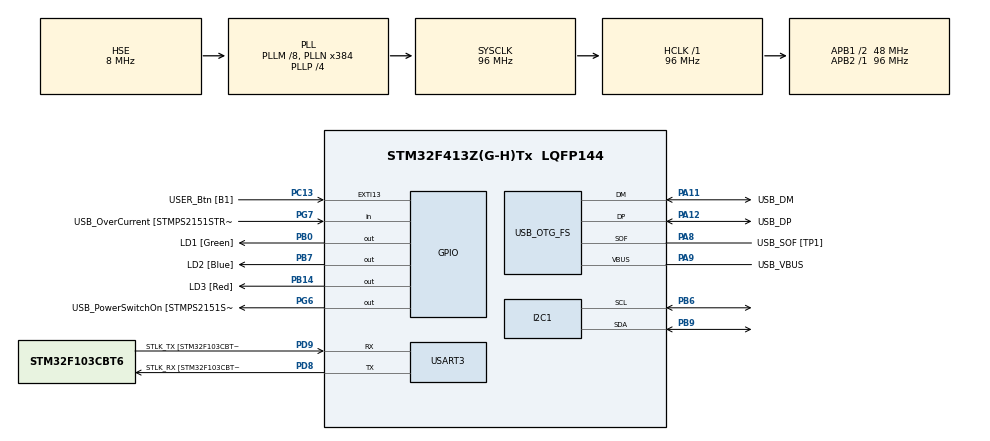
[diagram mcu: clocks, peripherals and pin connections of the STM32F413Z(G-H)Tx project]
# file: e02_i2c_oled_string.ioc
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Mcu.Family=STM32F4
Mcu.Name=STM32F413Z(G-H)Tx
Mcu.Package=LQFP144
NVIC.PriorityGroup=NVIC_PRIORITYGROUP_4
PA10.GPIO_Label=USB_ID
PA10.Signal=USB_OTG_FS_ID
PA11.GPIO_Label=USB_DM
PA11.Mode=Device_Only
PA11.Signal=USB_OTG_FS_DM
PA12.GPIO_Label=USB_DP
PA12.Mode=Device_Only
PA12.Signal=USB_OTG_FS_DP
PA13.GPIO_Label=TMS
PA13.Mode=Serial_Wire
PA13.Signal=SYS_JTMS-SWDIO
PA14.GPIO_Label=TCK
PA14.Mode=Serial_Wire
PA14.Signal=SYS_JTCK-SWCLK
PA8.GPIO_Label=USB_SOF [TP1]
PA8.Mode=Activate_SOF_FS
PA8.Signal=USB_OTG_FS_SOF
PA9.GPIO_Label=USB_VBUS
PA9.Mode=Activate_VBUS
PA9.Signal=USB_OTG_FS_VBUS
PB0.GPIO_Label=LD1 [Green]
PB0.Signal=GPIO_Output
PB14.GPIO_Label=LD3 [Red]
PB14.Signal=GPIO_Output
PB3.GPIO_Label=SWO
PB3.Signal=SYS_JTDO-SWO
PB6.Mode=I2C
PB6.Signal=I2C1_SCL
PB7.GPIO_Label=LD2 [Blue]
PB7.Signal=GPIO_Output
PB9.Mode=I2C
PB9.Signal=I2C1_SDA
PC13.GPIO_Label=USER_Btn [B1]
PC13.Signal=GPXTI13
PC14-OSC32_IN.Mode=LSE-External-Oscillator
PC14-OSC32_IN.Signal=RCC_OSC32_IN
PC15-OSC32_OUT.Mode=LSE-External-Oscillator
PC15-OSC32_OUT.Signal=RCC_OSC32_OUT
PD8.GPIO_Label=STLK_RX [STM32F103CBT6_PA3]
PD8.Mode=Asynchronous
PD8.Signal=USART3_TX
PD9.GPIO_Label=STLK_TX [STM32F103CBT6_PA2]
PD9.Mode=Asynchronous
PD9.Signal=USART3_RX
PG6.GPIO_Label=USB_PowerSwitchOn [STMPS2151STR_EN]
PG6.Signal=GPIO_Output
PG7.GPIO_Label=USB_OverCurrent [STMPS2151STR_FAULT]
PG7.Signal=GPIO_Input
PH0\ -\ OSC_IN.GPIO_Label=MCO
PH0\ -\ OSC_IN.Mode=HSE-External-Clock-Source
PH0\ -\ OSC_IN.Signal=RCC_OSC_IN
PH1\ -\ OSC_OUT.Mode=HSE-External-Clock-Source
PH1\ -\ OSC_OUT.Signal=RCC_OSC_OUT
ProjectManager.HeapSize=0x200
ProjectManager.StackSize=0x400
ProjectManager.TargetToolchain=STM32CubeIDE
RCC.48MHZClocksFreq_Value=24000000
RCC.AHBFreq_Value=96000000
RCC.APB1CLKDivider=RCC_HCLK_DIV2
RCC.APB1Freq_Value=48000000
RCC.APB1TimFreq_Value=96000000
RCC.APB2Freq_Value=96000000
RCC.APB2TimFreq_Value=96000000
RCC.CortexFreq_Value=96000000
RCC.HCLKFreq_Value=96000000
RCC.HSE_VALUE=8000000
RCC.HSI_VALUE=16000000
RCC.PLLM=8
RCC.PLLMUL=RCC_PLL_MUL9
RCC.PLLN=384
RCC.PLLP=RCC_PLLP_DIV4
RCC.PLLQ=8
RCC.PRESCALERUSB=RCC_USBCLKSOURCE_PLL_DIV1_5
RCC.SYSCLKFreq_VALUE=96000000
RCC.SYSCLKSource=RCC_SYSCLKSOURCE_PLLCLK
RCC.SYSCLKSourceVirtual=RCC_SYSCLKSOURCE_PLLCLK
RCC.USBFreq_Value=48000000
RCC.VCOOutputFreq_Value=384000000
USART3.VirtualMode=VM_ASYNC
USB_OTG_FS.VirtualMode=Device_Only
board=NUCLEO-F413ZH

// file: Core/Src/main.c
/* USER CODE BEGIN Header */
/**
 ******************************************************************************
 * @file           : main.c
 * @brief          : Main program body (OLED Countdown & LED Sequence)
 ******************************************************************************
 */
/* USER CODE END Header */
#include "main.h"

/* USER CODE BEGIN Includes */
#include <stdio.h>
#include <string.h>
/* USER CODE END Includes */

/* USER CODE BEGIN PD */
#define OLED_ADDR 0x78 // OLED I2C address (0x3C << 1)
/* USER CODE END PD */

I2C_HandleTypeDef hi2c1;
UART_HandleTypeDef huart3;
PCD_HandleTypeDef hpcd_USB_OTG_FS;

/* USER CODE BEGIN PV */

// --- 1. 大數字圖案 (寬24 x 高32) ---
// 格式: Vertical Addressing (4 Pages tall)

// 數字 '1' (24x32)
const uint8_t BMP_1[] = {
    0x00,0x00,0x00,0x00,0x00,0x00,0x00,0x00,0xFE,0xFE,0xFE,0x00,0x00,0x00,0x00,0x00,0x00,0x00,0x00,0x00,0x00,0x00,0x00,0x00,
    0x00,0x00,0x00,0x00,0x00,0x00,0x00,0x00,0xFF,0xFF,0xFF,0x00,0x00,0x00,0x00,0x00,0x00,0x00,0x00,0x00,0x00,0x00,0x00,0x00,
    0x00,0x00,0x00,0x00,0x00,0x00,0x00,0x00,0xFF,0xFF,0xFF,0x00,0x00,0x00,0x00,0x00,0x00,0x00,0x00,0x00,0x00,0x00,0x00,0x00,
    0x00,0x00,0x00,0x00,0x00,0x00,0x00,0x00,0xFF,0xFF,0xFF,0x00,0x00,0x00,0x00,0x00,0x00,0x00,0x00,0x00,0x00,0x00,0x00,0x00
};

// 數字 '2' (24x32)
const uint8_t BMP_2[] = {
    0x00,0x00,0x18,0x3C,0x3C,0x3C,0x3C,0x3C,0x3C,0x3C,0x3C,0x3C,0x3C,0x1C,0x00,0x00,0x00,0x00,0x00,0x00,0x00,0x00,0x00,0x00,
    0x00,0x00,0x00,0x00,0x00,0x00,0x00,0x00,0x00,0x00,0x00,0x80,0xC0,0xF8,0xFE,0x3F,0x0F,0x03,0x00,0x00,0x00,0x00,0x00,0x00,
    0x00,0x00,0x00,0x00,0x00,0x00,0xE0,0xF8,0xFE,0xFF,0x3F,0x07,0x01,0x00,0x00,0x00,0x00,0x00,0x00,0x00,0x00,0x00,0x00,0x00,
    0x00,0x00,0x3C,0x3C,0x3C,0x3C,0x3C,0x3C,0x3C,0x3C,0x3C,0x3C,0x3C,0x3C,0x3C,0x3C,0x3C,0x00,0x00,0x00,0x00,0x00,0x00,0x00
};

// 數字 '3' (24x32)
const uint8_t BMP_3[] = {
    0x00,0x00,0x18,0x3C,0x3C,0x3C,0x3C,0x3C,0x3C,0x3C,0x3C,0x3C,0x3C,0x1C,0x00,0x00,0x00,0x00,0x00,0x00,0x00,0x00,0x00,0x00,
    0x00,0x00,0x00,0x00,0x00,0x18,0x18,0x18,0x18,0x18,0x18,0x98,0xD8,0xF8,0x70,0x00,0x00,0x00,0x00,0x00,0x00,0x00,0x00,0x00,
    0x00,0x00,0x00,0x00,0x00,0x00,0x00,0x00,0x00,0x00,0x00,0x81,0xC3,0xE7,0x7E,0x3C,0x00,0x00,0x00,0x00,0x00,0x00,0x00,0x00,
    0x00,0x00,0x1C,0x3E,0x3E,0x3E,0x3E,0x3E,0x3E,0x3E,0x3E,0x3E,0x3E,0x1C,0x00,0x00,0x00,0x00,0x00,0x00,0x00,0x00,0x00,0x00
};

// --- 2. 8x16 ASCII 字庫 (只包含 Space 到 ~ ) ---
// 為了程式碼長度，這裡使用精簡版字庫邏輯 (F8x16 陣列定義在 main 函數前)
// 但為了您能直接複製，我這裡放一個標準 ASCII 表 (ASCII 32 - 126)
const uint8_t F8x16[][16] = {
 {0x00,0x00,0x00,0x00,0x00,0x00,0x00,0x00,0x00,0x00,0x00,0x00,0x00,0x00,0x00,0x00},// Space
 {0x00,0x00,0x00,0xF8,0x00,0x00,0x00,0x00,0x00,0x00,0x00,0x33,0x30,0x00,0x00,0x00},// !
 {0x00,0x10,0x0C,0x06,0x10,0x0C,0x06,0x00,0x00,0x00,0x00,0x00,0x00,0x00,0x00,0x00},// "
 {0x40,0xC0,0x78,0x40,0xC0,0x78,0x40,0x00,0x04,0x3F,0x04,0x04,0x3F,0x04,0x04,0x00},// #
 {0x00,0x70,0x88,0xFC,0x08,0x30,0x00,0x00,0x00,0x18,0x20,0xFF,0x21,0x1E,0x00,0x00},// $
 {0xF0,0x08,0xF0,0x00,0xE0,0x18,0x00,0x00,0x00,0x21,0x1C,0x03,0x1E,0x21,0x1E,0x00},// %
 {0x00,0xF0,0x08,0x88,0x70,0x00,0x00,0x00,0x1E,0x21,0x23,0x24,0x19,0x27,0x21,0x10},// &
 {0x10,0x16,0x0E,0x00,0x00,0x00,0x00,0x00,0x00,0x00,0x00,0x00,0x00,0x00,0x00,0x00},// '
 {0x00,0x00,0x00,0xE0,0x18,0x04,0x02,0x00,0x00,0x00,0x00,0x07,0x18,0x20,0x40,0x00},// (
 {0x00,0x02,0x04,0x18,0xE0,0x00,0x00,0x00,0x00,0x40,0x20,0x18,0x07,0x00,0x00,0x00},// )
 {0x40,0x40,0x80,0xF0,0x80,0x40,0x40,0x00,0x02,0x02,0x01,0x0F,0x01,0x02,0x02,0x00},// *
 {0x00,0x00,0x00,0xF0,0x00,0x00,0x00,0x00,0x01,0x01,0x01,0x1F,0x01,0x01,0x01,0x00},// +
 {0x00,0x00,0x00,0x00,0x00,0x00,0x00,0x00,0x80,0xB0,0x70,0x00,0x00,0x00,0x00,0x00},// ,
 {0x00,0x00,0x00,0x00,0x00,0x00,0x00,0x00,0x00,0x01,0x01,0x01,0x01,0x01,0x01,0x01},// -
 {0x00,0x00,0x00,0x00,0x00,0x00,0x00,0x00,0x00,0x30,0x30,0x00,0x00,0x00,0x00,0x00},// .
 {0x00,0x00,0x00,0x00,0x80,0x60,0x18,0x04,0x00,0x60,0x18,0x06,0x01,0x00,0x00,0x00},// /
 {0x00,0xE0,0x10,0x08,0x08,0x10,0xE0,0x00,0x00,0x0F,0x10,0x20,0x20,0x10,0x0F,0x00},// 0
 {0x00,0x10,0x10,0xF8,0x00,0x00,0x00,0x00,0x00,0x20,0x20,0x3F,0x20,0x20,0x00,0x00},// 1
 {0x00,0x70,0x08,0x08,0x08,0x88,0x70,0x00,0x00,0x30,0x28,0x24,0x22,0x21,0x30,0x00},// 2
 {0x00,0x30,0x08,0x88,0x88,0x48,0x30,0x00,0x00,0x18,0x20,0x20,0x20,0x11,0x0E,0x00},// 3
 {0x00,0x00,0xC0,0x20,0x10,0xF8,0x00,0x00,0x00,0x07,0x04,0x24,0x24,0x3F,0x24,0x00},// 4
 {0x00,0xF8,0x08,0x88,0x88,0x08,0x08,0x00,0x00,0x19,0x21,0x20,0x20,0x11,0x0E,0x00},// 5
 {0x00,0xE0,0x10,0x88,0x88,0x18,0x00,0x00,0x00,0x0F,0x11,0x20,0x20,0x11,0x0E,0x00},// 6
 {0x00,0x38,0x08,0x08,0xC8,0x38,0x08,0x00,0x00,0x00,0x00,0x3F,0x00,0x00,0x00,0x00},// 7
 {0x00,0x70,0x88,0x08,0x08,0x88,0x70,0x00,0x00,0x1C,0x22,0x21,0x21,0x22,0x1C,0x00},// 8
 {0x00,0xE0,0x10,0x08,0x08,0x10,0xE0,0x00,0x00,0x00,0x31,0x22,0x22,0x11,0x0F,0x00},// 9
 {0x00,0x00,0x00,0xC0,0xC0,0x00,0x00,0x00,0x00,0x00,0x00,0x30,0x30,0x00,0x00,0x00},// :
 {0x00,0x00,0x00,0x80,0x00,0x00,0x00,0x00,0x00,0x00,0x80,0x60,0x00,0x00,0x00,0x00},// ;
 {0x00,0x00,0x80,0x40,0x20,0x10,0x08,0x00,0x00,0x01,0x02,0x04,0x08,0x10,0x20,0x00},// <
 {0x40,0x40,0x40,0x40,0x40,0x40,0x40,0x00,0x04,0x04,0x04,0x04,0x04,0x04,0x04,0x00},// =
 {0x00,0x08,0x10,0x20,0x40,0x80,0x00,0x00,0x00,0x20,0x10,0x08,0x04,0x02,0x01,0x00},// >
 {0x00,0x70,0x48,0x08,0x08,0x08,0xF0,0x00,0x00,0x00,0x00,0x30,0x36,0x01,0x00,0x00},// ?
 {0xC0,0x30,0xC8,0x28,0xE8,0x10,0xE0,0x00,0x07,0x18,0x27,0x24,0x23,0x14,0x0B,0x00},// @
 {0x00,0x00,0xC0,0x38,0xE0,0x00,0x00,0x00,0x20,0x3C,0x23,0x02,0x02,0x27,0x38,0x20},// A
 {0x08,0xF8,0x88,0x88,0x88,0x70,0x00,0x00,0x20,0x3F,0x20,0x20,0x20,0x11,0x0E,0x00},// B
 {0xC0,0x30,0x08,0x08,0x08,0x08,0x38,0x00,0x07,0x18,0x20,0x20,0x20,0x10,0x08,0x00},// C
 {0x08,0xF8,0x08,0x08,0x08,0x10,0xE0,0x00,0x20,0x3F,0x20,0x20,0x20,0x10,0x0F,0x00},// D
 {0x08,0xF8,0x88,0x88,0xE8,0x08,0x10,0x00,0x20,0x3F,0x20,0x20,0x23,0x20,0x18,0x00},// E
 {0x08,0xF8,0x88,0x88,0xE8,0x08,0x10,0x00,0x20,0x3F,0x20,0x00,0x03,0x00,0x00,0x00},// F
 {0xC0,0x30,0x08,0x08,0x08,0x38,0x00,0x00,0x07,0x18,0x20,0x20,0x22,0x1E,0x02,0x00},// G
 {0x08,0xF8,0x08,0x00,0x00,0x08,0xF8,0x08,0x20,0x3F,0x21,0x01,0x01,0x21,0x3F,0x20},// H
 {0x00,0x08,0x08,0xF8,0x08,0x08,0x00,0x00,0x00,0x20,0x20,0x3F,0x20,0x20,0x00,0x00},// I
 {0x00,0x00,0x08,0x08,0xF8,0x08,0x08,0x00,0xC0,0x80,0x80,0x80,0x7F,0x00,0x00,0x00},// J
 {0x08,0xF8,0x88,0xC0,0x28,0x18,0x08,0x00,0x20,0x3F,0x20,0x01,0x26,0x38,0x20,0x00},// K
 {0x08,0xF8,0x08,0x00,0x00,0x00,0x00,0x00,0x20,0x3F,0x20,0x20,0x20,0x20,0x30,0x00},// L
 {0x08,0xF8,0xF8,0x00,0xF8,0xF8,0x08,0x00,0x20,0x3F,0x00,0x3F,0x00,0x3F,0x20,0x00},// M
 {0x08,0xF8,0x30,0xC0,0x00,0x08,0xF8,0x08,0x20,0x3F,0x20,0x00,0x07,0x18,0x3F,0x00},// N
 {0xE0,0x10,0x08,0x08,0x08,0x10,0xE0,0x00,0x0F,0x10,0x20,0x20,0x20,0x10,0x0F,0x00},// O
 {0x08,0xF8,0x08,0x08,0x08,0x08,0xF0,0x00,0x20,0x3F,0x21,0x01,0x01,0x01,0x00,0x00},// P
 {0xE0,0x10,0x08,0x08,0x08,0x10,0xE0,0x00,0x0F,0x10,0x20,0x20,0x30,0x50,0x4F,0x00},// Q
 {0x08,0xF8,0x88,0x88,0x88,0x88,0x70,0x00,0x20,0x3F,0x20,0x00,0x03,0x0C,0x30,0x20},// R
 {0x00,0x70,0x88,0x08,0x10,0x08,0x38,0x00,0x00,0x38,0x20,0x21,0x21,0x22,0x1C,0x00},// S
 {0x18,0x08,0x08,0xF8,0x08,0x08,0x18,0x00,0x00,0x00,0x20,0x3F,0x20,0x00,0x00,0x00},// T
 {0x08,0xF8,0x08,0x00,0x00,0x08,0xF8,0x08,0x00,0x1F,0x20,0x20,0x20,0x20,0x1F,0x00},// U
 {0x08,0x78,0x88,0x00,0x00,0xC8,0x38,0x08,0x00,0x00,0x07,0x38,0x0E,0x01,0x00,0x00},// V
 {0xF8,0x08,0x00,0xF8,0x00,0x08,0xF8,0x00,0x03,0x3C,0x07,0x00,0x07,0x3C,0x03,0x00},// W
 {0x08,0x18,0x68,0x80,0x80,0x68,0x18,0x08,0x20,0x30,0x2C,0x03,0x03,0x2C,0x30,0x20},// X
 {0x08,0x38,0xC8,0x00,0xC8,0x38,0x08,0x00,0x00,0x00,0x20,0x3F,0x20,0x00,0x00,0x00},// Y
 {0x10,0x08,0x08,0x10,0xC8,0x38,0x08,0x00,0x20,0x38,0x26,0x21,0x20,0x20,0x18,0x00},// Z
 {0x00,0x00,0x00,0xFE,0x02,0x02,0x00,0x00,0x00,0x00,0x00,0x7F,0x40,0x40,0x00,0x00},// [
 {0x00,0x0C,0x30,0xC0,0x00,0x00,0x00,0x00,0x00,0x00,0x00,0x01,0x06,0x38,0xC0,0x00},// \ (escape)
 {0x00,0x02,0x02,0xFE,0x00,0x00,0x00,0x00,0x00,0x40,0x40,0x7F,0x00,0x00,0x00,0x00},// ]
 {0x00,0x00,0x04,0x02,0x04,0x00,0x00,0x00,0x00,0x00,0x00,0x00,0x00,0x00,0x00,0x00},// ^
 {0x00,0x00,0x00,0x00,0x00,0x00,0x00,0x00,0x80,0x80,0x80,0x80,0x80,0x80,0x80,0x80},// _
 {0x00,0x02,0x04,0x00,0x00,0x00,0x00,0x00,0x00,0x00,0x00,0x00,0x00,0x00,0x00,0x00},// `
 {0x00,0x00,0x80,0x80,0x80,0x80,0x00,0x00,0x00,0x19,0x24,0x22,0x22,0x22,0x3F,0x20},// a
 {0x08,0xF8,0x00,0x80,0x80,0x00,0x00,0x00,0x00,0x3F,0x11,0x20,0x20,0x11,0x0E,0x00},// b
 {0x00,0x00,0x00,0x80,0x80,0x80,0x00,0x00,0x00,0x0E,0x11,0x20,0x20,0x20,0x11,0x00},// c
 {0x00,0x00,0x00,0x80,0x80,0x88,0xF8,0x00,0x00,0x0E,0x11,0x20,0x20,0x10,0x3F,0x20},// d
 {0x00,0x00,0x80,0x80,0x80,0x80,0x00,0x00,0x00,0x1F,0x22,0x22,0x22,0x22,0x13,0x00},// e
 {0x00,0x80,0x80,0xF0,0x88,0x88,0x88,0x18,0x00,0x20,0x20,0x3F,0x20,0x20,0x00,0x00},// f
 {0x00,0x00,0x80,0x80,0x80,0x80,0x80,0x00,0x00,0x6B,0x94,0x94,0x94,0x93,0x60,0x00},// g
 {0x08,0xF8,0x00,0x80,0x80,0x80,0x00,0x00,0x20,0x3F,0x21,0x00,0x00,0x20,0x3F,0x20},// h
 {0x00,0x80,0x98,0x98,0x00,0x00,0x00,0x00,0x00,0x20,0x20,0x3F,0x20,0x20,0x00,0x00},// i
 {0x00,0x00,0x00,0x80,0x98,0x98,0x00,0x00,0x00,0xC0,0x80,0x80,0x80,0x7F,0x00,0x00},// j
 {0x08,0xF8,0x00,0x00,0x80,0x80,0x80,0x00,0x20,0x3F,0x24,0x02,0x2D,0x30,0x20,0x00},// k
 {0x00,0x00,0x00,0x80,0x80,0x00,0x00,0x00,0x20,0x3F,0x20,0x20,0x20,0x3F,0x20,0x00},// l
 {0x80,0x80,0x80,0x80,0x80,0x80,0x80,0x00,0x20,0x3F,0x21,0x00,0x3F,0x20,0x00,0x3F},// m
 {0x80,0x80,0x00,0x80,0x80,0x80,0x00,0x00,0x20,0x3F,0x21,0x00,0x00,0x20,0x3F,0x20},// n
 {0x00,0x00,0x80,0x80,0x80,0x80,0x00,0x00,0x00,0x1F,0x20,0x20,0x20,0x20,0x1F,0x00},// o
 {0x80,0x80,0x00,0x80,0x80,0x00,0x00,0x00,0x80,0xFF,0xA1,0x20,0x20,0x11,0x0E,0x00},// p
 {0x00,0x00,0x00,0x80,0x80,0x80,0x80,0x00,0x00,0x0E,0x11,0x20,0x20,0xA0,0xFF,0x80},// q
 {0x80,0x80,0x80,0x00,0x80,0x80,0x80,0x00,0x20,0x20,0x3F,0x21,0x20,0x00,0x01,0x00},// r
 {0x00,0x00,0x80,0x80,0x80,0x80,0x00,0x00,0x00,0x33,0x24,0x24,0x24,0x24,0x19,0x00},// s
 {0x00,0x80,0x80,0xE0,0x80,0x80,0x00,0x00,0x00,0x00,0x00,0x1F,0x20,0x20,0x00,0x00},// t
 {0x80,0x80,0x00,0x00,0x00,0x80,0x80,0x00,0x00,0x1F,0x20,0x20,0x20,0x10,0x3F,0x20},// u
 {0x80,0x80,0x80,0x00,0x00,0x80,0x80,0x80,0x00,0x01,0x0E,0x30,0x08,0x06,0x01,0x00},// v
 {0x80,0x80,0x00,0x80,0x00,0x80,0x80,0x80,0x0F,0x30,0x0C,0x03,0x0C,0x30,0x0F,0x00},// w
 {0x00,0x80,0x80,0x00,0x80,0x80,0x80,0x00,0x00,0x20,0x31,0x2E,0x0E,0x31,0x20,0x00},// x
 {0x80,0x80,0x80,0x00,0x00,0x80,0x80,0x80,0x80,0x81,0x8E,0x70,0x18,0x06,0x01,0x00},// y
 {0x00,0x80,0x80,0x80,0x80,0x80,0x80,0x00,0x00,0x21,0x30,0x2C,0x22,0x21,0x30,0x00},// z
 {0x00,0x00,0x00,0x00,0x80,0x7C,0x02,0x02,0x00,0x00,0x00,0x00,0x00,0x3F,0x40,0x40},// {
 {0x00,0x00,0x00,0x00,0xFF,0x00,0x00,0x00,0x00,0x00,0x00,0x00,0xFF,0x00,0x00,0x00},// |
 {0x00,0x02,0x02,0x7C,0x80,0x00,0x00,0x00,0x00,0x40,0x40,0x3F,0x00,0x00,0x00,0x00},// }
 {0x00,0x06,0x01,0x01,0x02,0x02,0x04,0x04,0x00,0x00,0x00,0x00,0x00,0x00,0x00,0x00},// ~
};
/* USER CODE END PV */

void SystemClock_Config(void);
static void MX_GPIO_Init(void);
static void MX_USART3_UART_Init(void);
static void MX_USB_OTG_FS_PCD_Init(void);
static void MX_I2C1_Init(void);

/* USER CODE BEGIN 0 */

// --- 簡易 OLED 驅動函式 (SSD1306) ---

void OLED_WriteCmd(uint8_t cmd) {
    HAL_I2C_Mem_Write(&hi2c1, OLED_ADDR, 0x00, 1, &cmd, 1, 100);
}

void OLED_WriteData(uint8_t data) {
    HAL_I2C_Mem_Write(&hi2c1, OLED_ADDR, 0x40, 1, &data, 1, 100);
}

void OLED_Init_Minimal(void) {
    HAL_Delay(100);
    OLED_WriteCmd(0xAE); // Display Off
    OLED_WriteCmd(0x20); // Addressing Mode
    OLED_WriteCmd(0x00); // Horizontal
    OLED_WriteCmd(0xB0);
    OLED_WriteCmd(0xC8);
    OLED_WriteCmd(0x00);
    OLED_WriteCmd(0x10);
    OLED_WriteCmd(0x40);
    OLED_WriteCmd(0x81); // Contrast
    OLED_WriteCmd(0xFF);
    OLED_WriteCmd(0xA1);
    OLED_WriteCmd(0xA6);
    OLED_WriteCmd(0xA8); // Multiplex
    OLED_WriteCmd(0x3F);
    OLED_WriteCmd(0x8D); // Charge Pump
    OLED_WriteCmd(0x14);
    OLED_WriteCmd(0xAF); // Display On
}

void OLED_SetPos(uint8_t x, uint8_t y) {
    OLED_WriteCmd(0xB0 + y);
    OLED_WriteCmd(((x & 0xF0) >> 4) | 0x10);
    OLED_WriteCmd((x & 0x0F));
}

void OLED_Clear(void) {
    uint8_t i, n;
    for (i = 0; i < 8; i++) {
        OLED_WriteCmd(0xB0 + i);
        OLED_WriteCmd(0x00);
        OLED_WriteCmd(0x10);
        for (n = 0; n < 128; n++) {
            OLED_WriteData(0x00);
        }
    }
}

// 繪製 24x32 的位圖 (x 必須是 0-104)
// y 是頁地址 (0-4), 一頁8px. 32px高度佔用4頁
void OLED_DrawBMP_24x32(uint8_t x, uint8_t y, const uint8_t *p) {
    uint8_t page, col;
    for (page = 0; page < 4; page++) {
        OLED_SetPos(x, y + page);
        for (col = 0; col < 24; col++) {
            // p 陣列排列假設: 前24bytes是page0, 接下24bytes是page1...
            OLED_WriteData(p[page * 24 + col]);
        }
    }
}

// 顯示一個 8x16 字符
void OLED_ShowChar(uint8_t x, uint8_t y, char chr) {
    uint8_t c = chr - ' '; // Offset to match F8x16 array (Starts at Space)
    if (x > 120) { x = 0; y += 2; }

    OLED_SetPos(x, y);
    for (uint8_t i = 0; i < 8; i++) OLED_WriteData(F8x16[c][i]);

    OLED_SetPos(x, y + 1);
    for (uint8_t i = 0; i < 8; i++) OLED_WriteData(F8x16[c][i + 8]);
}

// 顯示字串
void OLED_ShowString(uint8_t x, uint8_t y, char *chr) {
    while (*chr != '\0') {
        OLED_ShowChar(x, y, *chr);
        x += 8;
        if (x > 120) { x = 0; y += 2; }
        chr++;
    }
}

// 控制 LED 全亮或全滅 (PB0, PB7, PB14)
void LED_All(uint8_t state) {
    if(state) {
        // SET (ON)
        HAL_GPIO_WritePin(GPIOB, LD1_Pin|LD2_Pin|LD3_Pin, GPIO_PIN_SET);
    } else {
        // RESET (OFF)
        HAL_GPIO_WritePin(GPIOB, LD1_Pin|LD2_Pin|LD3_Pin, GPIO_PIN_RESET);
    }
}

// 重定向 printf
int _write(int file, char *ptr, int len) {
    HAL_UART_Transmit(&huart3, (uint8_t *)ptr, len, HAL_MAX_DELAY);
    return len;
}
/* USER CODE END 0 */

int main(void)
{

  /* MCU Configuration--------------------------------------------------------*/

  /* Reset of all peripherals, Initializes the Flash interface and the Systick. */
  HAL_Init();

  /* Configure the system clock */
  SystemClock_Config();

  /* Initialize all configured peripherals */
  MX_GPIO_Init();
  MX_USART3_UART_Init();
  MX_USB_OTG_FS_PCD_Init();
  MX_I2C1_Init();
  /* USER CODE BEGIN 2 */

  printf("\r\nSTM32 Countdown Start\r\n");

  OLED_Init_Minimal();
  OLED_Clear();

  /* USER CODE END 2 */

  /* Infinite loop */
  /* USER CODE BEGIN WHILE */
  while (1)
  {
      // --- Step 1: 顯示 "3" + LED 全亮 ---
      printf("Count: 3\r\n");
      LED_All(1); // LED ON
      OLED_Clear();
      // 在螢幕中間顯示數字: (128-24)/2 = 52. Y由第2頁開始比較置中
      OLED_DrawBMP_24x32(52, 2, BMP_3);
      HAL_Delay(1000); // 停留1秒

      // 切換效果: LED 滅一下
      LED_All(0);
      HAL_Delay(100);

      // --- Step 2: 顯示 "2" + LED 全亮 ---
      printf("Count: 2\r\n");
      LED_All(1); // LED ON
      OLED_Clear();
      OLED_DrawBMP_24x32(52, 2, BMP_2);
      HAL_Delay(1000);

      LED_All(0);
      HAL_Delay(100);

      // --- Step 3: 顯示 "1" + LED 全亮 ---
      printf("Count: 1\r\n");
      LED_All(1); // LED ON
      OLED_Clear();
      OLED_DrawBMP_24x32(52, 2, BMP_1);
      HAL_Delay(1000);

      LED_All(0);
      HAL_Delay(100);

      // --- Step 4: 顯示歡迎訊息 (LED 熄滅或閃爍，這裡設為熄滅以便看清文字) ---
      printf("Welcome Message\r\n");
      OLED_Clear();
      OLED_ShowString(36, 0, "Welcome");  // X=36 置中
      OLED_ShowString(36, 2, "Hsinchu");  // X=36 置中
      OLED_ShowString(44, 4, "2026!");    // X=44 置中

      // 停留 3 秒
      HAL_Delay(3000);

    /* USER CODE END WHILE */

  }
}

void SystemClock_Config(void)
{
  RCC_OscInitTypeDef RCC_OscInitStruct = {0};
  RCC_ClkInitTypeDef RCC_ClkInitStruct = {0};

  /** Configure the main internal regulator output voltage
  */
  __HAL_RCC_PWR_CLK_ENABLE();
  __HAL_PWR_VOLTAGESCALING_CONFIG(PWR_REGULATOR_VOLTAGE_SCALE1);

  /** Initializes the RCC Oscillators according to the specified parameters
  * in the RCC_OscInitTypeDef structure.
  */
  RCC_OscInitStruct.OscillatorType = RCC_OSCILLATORTYPE_HSE;
  RCC_OscInitStruct.HSEState = RCC_HSE_BYPASS;
  RCC_OscInitStruct.PLL.PLLState = RCC_PLL_ON;
  RCC_OscInitStruct.PLL.PLLSource = RCC_PLLSOURCE_HSE;
  RCC_OscInitStruct.PLL.PLLM = 8;
  RCC_OscInitStruct.PLL.PLLN = 384;
  RCC_OscInitStruct.PLL.PLLP = RCC_PLLP_DIV4;
  RCC_OscInitStruct.PLL.PLLQ = 8;
  RCC_OscInitStruct.PLL.PLLR = 2;
  if (HAL_RCC_OscConfig(&RCC_OscInitStruct) != HAL_OK)
  {
    Error_Handler();
  }

  /** Initializes the CPU, AHB and APB buses clocks
  */
  RCC_ClkInitStruct.ClockType = RCC_CLOCKTYPE_HCLK|RCC_CLOCKTYPE_SYSCLK
                              |RCC_CLOCKTYPE_PCLK1|RCC_CLOCKTYPE_PCLK2;
  RCC_ClkInitStruct.SYSCLKSource = RCC_SYSCLKSOURCE_PLLCLK;
  RCC_ClkInitStruct.AHBCLKDivider = RCC_SYSCLK_DIV1;
  RCC_ClkInitStruct.APB1CLKDivider = RCC_HCLK_DIV2;
  RCC_ClkInitStruct.APB2CLKDivider = RCC_HCLK_DIV1;

  if (HAL_RCC_ClockConfig(&RCC_ClkInitStruct, FLASH_LATENCY_3) != HAL_OK)
  {
    Error_Handler();
  }
}

static void MX_I2C1_Init(void)
{

  hi2c1.Instance = I2C1;
  hi2c1.Init.ClockSpeed = 400000; // 使用 400kHz 以獲得更順暢的刷屏
  hi2c1.Init.DutyCycle = I2C_DUTYCYCLE_2;
  hi2c1.Init.OwnAddress1 = 0;
  hi2c1.Init.AddressingMode = I2C_ADDRESSINGMODE_7BIT;
  hi2c1.Init.DualAddressMode = I2C_DUALADDRESS_DISABLE;
  hi2c1.Init.OwnAddress2 = 0;
  hi2c1.Init.GeneralCallMode = I2C_GENERALCALL_DISABLE;
  hi2c1.Init.NoStretchMode = I2C_NOSTRETCH_DISABLE;
  if (HAL_I2C_Init(&hi2c1) != HAL_OK)
  {
    Error_Handler();
  }
}

static void MX_USART3_UART_Init(void)
{

  huart3.Instance = USART3;
  huart3.Init.BaudRate = 115200;
  huart3.Init.WordLength = UART_WORDLENGTH_8B;
  huart3.Init.StopBits = UART_STOPBITS_1;
  huart3.Init.Parity = UART_PARITY_NONE;
  huart3.Init.Mode = UART_MODE_TX_RX;
  huart3.Init.HwFlowCtl = UART_HWCONTROL_NONE;
  huart3.Init.OverSampling = UART_OVERSAMPLING_16;
  if (HAL_UART_Init(&huart3) != HAL_OK)
  {
    Error_Handler();
  }
}

static void MX_USB_OTG_FS_PCD_Init(void)
{

  hpcd_USB_OTG_FS.Instance = USB_OTG_FS;
  hpcd_USB_OTG_FS.Init.dev_endpoints = 6;
  hpcd_USB_OTG_FS.Init.speed = PCD_SPEED_FULL;
  hpcd_USB_OTG_FS.Init.dma_enable = DISABLE;
  hpcd_USB_OTG_FS.Init.phy_itface = PCD_PHY_EMBEDDED;
  hpcd_USB_OTG_FS.Init.Sof_enable = ENABLE;
  hpcd_USB_OTG_FS.Init.low_power_enable = DISABLE;
  hpcd_USB_OTG_FS.Init.lpm_enable = DISABLE;
  hpcd_USB_OTG_FS.Init.battery_charging_enable = ENABLE;
  hpcd_USB_OTG_FS.Init.vbus_sensing_enable = ENABLE;
  hpcd_USB_OTG_FS.Init.use_dedicated_ep1 = DISABLE;
  if (HAL_PCD_Init(&hpcd_USB_OTG_FS) != HAL_OK)
  {
    Error_Handler();
  }
}

static void MX_GPIO_Init(void)
{
  GPIO_InitTypeDef GPIO_InitStruct = {0};

  /* GPIO Ports Clock Enable */
  __HAL_RCC_GPIOC_CLK_ENABLE();
  __HAL_RCC_GPIOH_CLK_ENABLE();
  __HAL_RCC_GPIOB_CLK_ENABLE();
  __HAL_RCC_GPIOD_CLK_ENABLE();
  __HAL_RCC_GPIOG_CLK_ENABLE();
  __HAL_RCC_GPIOA_CLK_ENABLE();

  /*Configure GPIO pin Output Level */
  HAL_GPIO_WritePin(GPIOB, LD1_Pin|LD3_Pin|LD2_Pin, GPIO_PIN_RESET);

  /*Configure GPIO pin Output Level */
  HAL_GPIO_WritePin(USB_PowerSwitchOn_GPIO_Port, USB_PowerSwitchOn_Pin, GPIO_PIN_RESET);

  /*Configure GPIO pin : USER_Btn_Pin */
  GPIO_InitStruct.Pin = USER_Btn_Pin;
  GPIO_InitStruct.Mode = GPIO_MODE_IT_RISING;
  GPIO_InitStruct.Pull = GPIO_NOPULL;
  HAL_GPIO_Init(USER_Btn_GPIO_Port, &GPIO_InitStruct);

  /*Configure GPIO pins : LD1_Pin LD3_Pin LD2_Pin */
  GPIO_InitStruct.Pin = LD1_Pin|LD3_Pin|LD2_Pin;
  GPIO_InitStruct.Mode = GPIO_MODE_OUTPUT_PP;
  GPIO_InitStruct.Pull = GPIO_NOPULL;
  GPIO_InitStruct.Speed = GPIO_SPEED_FREQ_LOW;
  HAL_GPIO_Init(GPIOB, &GPIO_InitStruct);

  /*Configure GPIO pin : USB_PowerSwitchOn_Pin */
  GPIO_InitStruct.Pin = USB_PowerSwitchOn_Pin;
  GPIO_InitStruct.Mode = GPIO_MODE_OUTPUT_PP;
  GPIO_InitStruct.Pull = GPIO_NOPULL;
  GPIO_InitStruct.Speed = GPIO_SPEED_FREQ_LOW;
  HAL_GPIO_Init(USB_PowerSwitchOn_GPIO_Port, &GPIO_InitStruct);

  /*Configure GPIO pin : USB_OverCurrent_Pin */
  GPIO_InitStruct.Pin = USB_OverCurrent_Pin;
  GPIO_InitStruct.Mode = GPIO_MODE_INPUT;
  GPIO_InitStruct.Pull = GPIO_NOPULL;
  HAL_GPIO_Init(USB_OverCurrent_GPIO_Port, &GPIO_InitStruct);

}

void Error_Handler(void)
{
  __disable_irq();
  while (1)
  {
  }
}
